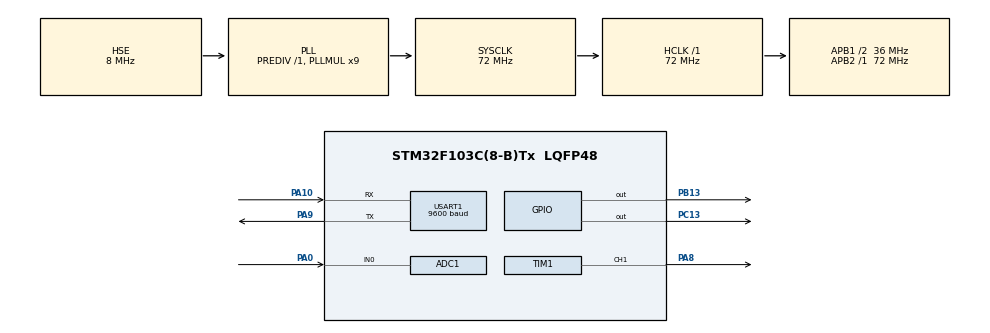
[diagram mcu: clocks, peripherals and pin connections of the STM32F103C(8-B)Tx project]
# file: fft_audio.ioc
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ADC1.Channel-5\#ChannelRegularConversion=ADC_CHANNEL_0
ADC1.EnableRegularConversion=ENABLE
ADC1.ExternalTrigConv=ADC_EXTERNALTRIGCONV_T3_TRGO
ADC1.NbrOfConversion=1
ADC1.NbrOfConversionFlag=1
ADC1.Rank-5\#ChannelRegularConversion=1
ADC1.SamplingTime-5\#ChannelRegularConversion=ADC_SAMPLETIME_41CYCLES_5
ADC1.master=1
Dma.ADC1.0.Direction=DMA_PERIPH_TO_MEMORY
Dma.ADC1.0.Instance=DMA1_Channel1
Dma.ADC1.0.MemDataAlignment=DMA_MDATAALIGN_HALFWORD
Dma.ADC1.0.MemInc=DMA_MINC_ENABLE
Dma.ADC1.0.Mode=DMA_NORMAL
Dma.ADC1.0.PeriphDataAlignment=DMA_PDATAALIGN_HALFWORD
Dma.ADC1.0.PeriphInc=DMA_PINC_DISABLE
Dma.ADC1.0.Priority=DMA_PRIORITY_LOW
Dma.Request0=ADC1
Dma.Request1=TIM1_CH1
Dma.Request2=USART1_RX
Dma.TIM1_CH1.1.Direction=DMA_MEMORY_TO_PERIPH
Dma.TIM1_CH1.1.Instance=DMA1_Channel2
Dma.TIM1_CH1.1.MemDataAlignment=DMA_MDATAALIGN_WORD
Dma.TIM1_CH1.1.MemInc=DMA_MINC_ENABLE
Dma.TIM1_CH1.1.Mode=DMA_CIRCULAR
Dma.TIM1_CH1.1.PeriphDataAlignment=DMA_PDATAALIGN_HALFWORD
Dma.TIM1_CH1.1.PeriphInc=DMA_PINC_DISABLE
Dma.TIM1_CH1.1.Priority=DMA_PRIORITY_LOW
Dma.USART1_RX.2.Direction=DMA_PERIPH_TO_MEMORY
Dma.USART1_RX.2.Instance=DMA1_Channel5
Dma.USART1_RX.2.MemDataAlignment=DMA_MDATAALIGN_BYTE
Dma.USART1_RX.2.MemInc=DMA_MINC_ENABLE
Dma.USART1_RX.2.Mode=DMA_CIRCULAR
Dma.USART1_RX.2.PeriphDataAlignment=DMA_PDATAALIGN_BYTE
Dma.USART1_RX.2.PeriphInc=DMA_PINC_DISABLE
Dma.USART1_RX.2.Priority=DMA_PRIORITY_LOW
Mcu.Family=STM32F1
Mcu.Name=STM32F103C(8-B)Tx
Mcu.Package=LQFP48
NVIC.DMA1_Channel1_IRQn=true\:0\:0\:false\:false\:true\:false\:true\:true
NVIC.DMA1_Channel2_IRQn=true\:0\:0\:false\:false\:true\:false\:true\:true
NVIC.DMA1_Channel5_IRQn=true\:0\:0\:false\:false\:true\:false\:true\:true
NVIC.PriorityGroup=NVIC_PRIORITYGROUP_4
NVIC.USART1_IRQn=true\:0\:0\:false\:false\:true\:true\:true\:true
PA0-WKUP.Signal=ADCx_IN0
PA10.Mode=Asynchronous
PA10.Signal=USART1_RX
PA13.Mode=Serial_Wire
PA13.Signal=SYS_JTMS-SWDIO
PA14.Mode=Serial_Wire
PA14.Signal=SYS_JTCK-SWCLK
PA8.Signal=S_TIM1_CH1
PA9.Mode=Asynchronous
PA9.Signal=USART1_TX
PB13.Signal=GPIO_Output
PC13-TAMPER-RTC.Signal=GPIO_Output
PD0-OSC_IN.Mode=HSE-External-Oscillator
PD0-OSC_IN.Signal=RCC_OSC_IN
PD1-OSC_OUT.Mode=HSE-External-Oscillator
PD1-OSC_OUT.Signal=RCC_OSC_OUT
ProjectManager.HeapSize=0x200
ProjectManager.StackSize=0x400
ProjectManager.TargetToolchain=STM32CubeIDE
RCC.ADCPresc=RCC_ADCPCLK2_DIV6
RCC.AHBFreq_Value=72000000
RCC.APB1CLKDivider=RCC_HCLK_DIV2
RCC.APB1Freq_Value=36000000
RCC.APB1TimFreq_Value=72000000
RCC.APB2Freq_Value=72000000
RCC.APB2TimFreq_Value=72000000
RCC.HCLKFreq_Value=72000000
RCC.PLLMUL=RCC_PLL_MUL9
RCC.PLLSourceVirtual=RCC_PLLSOURCE_HSE
RCC.SYSCLKFreq_VALUE=72000000
RCC.SYSCLKSource=RCC_SYSCLKSOURCE_PLLCLK
RCC.USBFreq_Value=48000000
RCC.USBPrescaler=RCC_USBCLKSOURCE_PLL_DIV1_5
SH.ADCx_IN0.0=ADC1_IN0,IN0
SH.S_TIM1_CH1.0=TIM1_CH1,PWM Generation1 CH1
TIM1.Channel-PWM\ Generation1\ CH1=TIM_CHANNEL_1
TIM1.OCIdleState_1=TIM_OCIDLESTATE_SET
TIM1.OCPolarity_1=TIM_OCPOLARITY_LOW
TIM1.Period=89
TIM3.AutoReloadPreload=TIM_AUTORELOAD_PRELOAD_ENABLE
TIM3.Period=24
TIM3.Prescaler=71
TIM3.TIM_MasterOutputTrigger=TIM_TRGO_UPDATE
TIM3.TIM_MasterSlaveMode=TIM_MASTERSLAVEMODE_ENABLE
USART1.BaudRate=9600
USART1.VirtualMode=VM_ASYNC
VP_TIM1_VS_ClockSourceINT.Mode=Internal
VP_TIM3_VS_ClockSourceINT.Mode=Internal
board=custom

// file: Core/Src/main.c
/* USER CODE BEGIN Header */
/**
  If you find that ADC no longer reads 256 samples, check and make sure DMA is init first
  and only then the ADC.
  Currently working on: Create first visualization routine.
  Possible solution: Map the octave output to the LED array. To be more specific,
  interpolate linearly depending on the distances of two bins.
  Magic code: 98 203 186
  */
/* USER CODE END Header */
#include "main.h"

/* USER CODE BEGIN Includes */
#include "arm_math.h"
#include "sampling.h"
#include "fftanalysis.h"
#include "ws2812.h"
#include "vis.h"
#include "bt.h"
/* USER CODE END Includes */

 ADC_HandleTypeDef hadc1;
DMA_HandleTypeDef hdma_adc1;

TIM_HandleTypeDef htim1;
TIM_HandleTypeDef htim3;
DMA_HandleTypeDef hdma_tim1_ch1;

UART_HandleTypeDef huart1;
DMA_HandleTypeDef hdma_usart1_rx;

/* USER CODE BEGIN PV */
ledstruc leds[NUM_LEDS];
/* USER CODE END PV */

void SystemClock_Config(void);
static void MX_GPIO_Init(void);
static void MX_ADC1_Init(void);
static void MX_DMA_Init(void);
static void MX_TIM3_Init(void);
static void MX_USART1_UART_Init(void);
static void MX_TIM1_Init(void);

int main(void)
{
  /* USER CODE BEGIN 1 */
  uint16_t sflag = 0;
  uint16_t lflag = 0;
  uint16_t dflag = 0;
  uint16_t mcnt = 0;

  // Samples and so called octs are stored here
  uint16_t samples[FFT_SIZE];
  uint16_t oct_out[OCT_N];
  /* USER CODE END 1 */

  /* MCU Configuration--------------------------------------------------------*/

  /* Reset of all peripherals, Initializes the Flash interface and the Systick. */
  HAL_Init();

  /* Configure the system clock */
  SystemClock_Config();

  /* Initialize all configured peripherals */
  MX_GPIO_Init();
  MX_DMA_Init();
  MX_ADC1_Init();
  MX_TIM3_Init();
  MX_USART1_UART_Init();
  MX_TIM1_Init();
  /* USER CODE BEGIN 2 */
  q15_t outputfft[FFT_SIZE/2];
  initLED();
  /* USER CODE END 2 */

  /* Infinite loop */
  /* USER CODE BEGIN WHILE */
  while (1)
  {
	uint8_t bval, rval;
	if(!dflag) {
		rval = getBT(&bval);
		if(bval) {
			dflag = 1;
			if(bval == 'M') {
				mcnt++;
				if(mcnt > 2) mcnt = 0;
			}
		}
	}
	// Switch machine like code to run sampling, FFT and WS2812.
	switch(0 ^ sflag ^ (lflag<<1)) {
	case 0:
		// Neither sampling nor WS2812 are done
		if(adc_read(samples)) {
		  perform_fft(samples, outputfft);
		  conv_oct(outputfft, oct_out);
		  sflag = 1;
		}
		lflag = ws2812_show();
		break;
	case 1:
		// Sampling done
		lflag = ws2812_show();
		break;
	case 2:
		// WS2812 done
		if(adc_read(samples)) {
		  perform_fft(samples, outputfft);
		  conv_oct(outputfft, oct_out);
		  sflag = 1;
		}
		break;
	case 3:
		// Do processing here before starting next loop
		if(mcnt < 2)
			visRoutine1(oct_out, leds, bval, rval);
		else
			visRoutine2(oct_out, leds);
		sflag = 0;
		lflag = 0;
		dflag = 0;
		break;
	}
    /* USER CODE END WHILE */

  }
}

void SystemClock_Config(void)
{
  RCC_OscInitTypeDef RCC_OscInitStruct = {0};
  RCC_ClkInitTypeDef RCC_ClkInitStruct = {0};
  RCC_PeriphCLKInitTypeDef PeriphClkInit = {0};

  /** Initializes the RCC Oscillators according to the specified parameters
  * in the RCC_OscInitTypeDef structure.
  */
  RCC_OscInitStruct.OscillatorType = RCC_OSCILLATORTYPE_HSE;
  RCC_OscInitStruct.HSEState = RCC_HSE_ON;
  RCC_OscInitStruct.HSEPredivValue = RCC_HSE_PREDIV_DIV1;
  RCC_OscInitStruct.HSIState = RCC_HSI_ON;
  RCC_OscInitStruct.PLL.PLLState = RCC_PLL_ON;
  RCC_OscInitStruct.PLL.PLLSource = RCC_PLLSOURCE_HSE;
  RCC_OscInitStruct.PLL.PLLMUL = RCC_PLL_MUL9;
  if (HAL_RCC_OscConfig(&RCC_OscInitStruct) != HAL_OK)
  {
    Error_Handler();
  }

  /** Initializes the CPU, AHB and APB buses clocks
  */
  RCC_ClkInitStruct.ClockType = RCC_CLOCKTYPE_HCLK|RCC_CLOCKTYPE_SYSCLK
                              |RCC_CLOCKTYPE_PCLK1|RCC_CLOCKTYPE_PCLK2;
  RCC_ClkInitStruct.SYSCLKSource = RCC_SYSCLKSOURCE_PLLCLK;
  RCC_ClkInitStruct.AHBCLKDivider = RCC_SYSCLK_DIV1;
  RCC_ClkInitStruct.APB1CLKDivider = RCC_HCLK_DIV2;
  RCC_ClkInitStruct.APB2CLKDivider = RCC_HCLK_DIV1;

  if (HAL_RCC_ClockConfig(&RCC_ClkInitStruct, FLASH_LATENCY_2) != HAL_OK)
  {
    Error_Handler();
  }
  PeriphClkInit.PeriphClockSelection = RCC_PERIPHCLK_ADC;
  PeriphClkInit.AdcClockSelection = RCC_ADCPCLK2_DIV6;
  if (HAL_RCCEx_PeriphCLKConfig(&PeriphClkInit) != HAL_OK)
  {
    Error_Handler();
  }
}

static void MX_ADC1_Init(void)
{

  ADC_ChannelConfTypeDef sConfig = {0};

  /** Common config
  */
  hadc1.Instance = ADC1;
  hadc1.Init.ScanConvMode = ADC_SCAN_DISABLE;
  hadc1.Init.ContinuousConvMode = DISABLE;
  hadc1.Init.DiscontinuousConvMode = DISABLE;
  hadc1.Init.ExternalTrigConv = ADC_EXTERNALTRIGCONV_T3_TRGO;
  hadc1.Init.DataAlign = ADC_DATAALIGN_RIGHT;
  hadc1.Init.NbrOfConversion = 1;
  if (HAL_ADC_Init(&hadc1) != HAL_OK)
  {
    Error_Handler();
  }

  /** Configure Regular Channel
  */
  sConfig.Channel = ADC_CHANNEL_0;
  sConfig.Rank = ADC_REGULAR_RANK_1;
  sConfig.SamplingTime = ADC_SAMPLETIME_41CYCLES_5;
  if (HAL_ADC_ConfigChannel(&hadc1, &sConfig) != HAL_OK)
  {
    Error_Handler();
  }

}

static void MX_TIM1_Init(void)
{

  TIM_ClockConfigTypeDef sClockSourceConfig = {0};
  TIM_MasterConfigTypeDef sMasterConfig = {0};
  TIM_OC_InitTypeDef sConfigOC = {0};
  TIM_BreakDeadTimeConfigTypeDef sBreakDeadTimeConfig = {0};

  htim1.Instance = TIM1;
  htim1.Init.Prescaler = 0;
  htim1.Init.CounterMode = TIM_COUNTERMODE_UP;
  htim1.Init.Period = 89;
  htim1.Init.ClockDivision = TIM_CLOCKDIVISION_DIV1;
  htim1.Init.RepetitionCounter = 0;
  htim1.Init.AutoReloadPreload = TIM_AUTORELOAD_PRELOAD_DISABLE;
  if (HAL_TIM_Base_Init(&htim1) != HAL_OK)
  {
    Error_Handler();
  }
  sClockSourceConfig.ClockSource = TIM_CLOCKSOURCE_INTERNAL;
  if (HAL_TIM_ConfigClockSource(&htim1, &sClockSourceConfig) != HAL_OK)
  {
    Error_Handler();
  }
  if (HAL_TIM_PWM_Init(&htim1) != HAL_OK)
  {
    Error_Handler();
  }
  sMasterConfig.MasterOutputTrigger = TIM_TRGO_RESET;
  sMasterConfig.MasterSlaveMode = TIM_MASTERSLAVEMODE_DISABLE;
  if (HAL_TIMEx_MasterConfigSynchronization(&htim1, &sMasterConfig) != HAL_OK)
  {
    Error_Handler();
  }
  sConfigOC.OCMode = TIM_OCMODE_PWM1;
  sConfigOC.Pulse = 0;
  sConfigOC.OCPolarity = TIM_OCPOLARITY_LOW;
  sConfigOC.OCNPolarity = TIM_OCNPOLARITY_HIGH;
  sConfigOC.OCFastMode = TIM_OCFAST_DISABLE;
  sConfigOC.OCIdleState = TIM_OCIDLESTATE_SET;
  sConfigOC.OCNIdleState = TIM_OCNIDLESTATE_RESET;
  if (HAL_TIM_PWM_ConfigChannel(&htim1, &sConfigOC, TIM_CHANNEL_1) != HAL_OK)
  {
    Error_Handler();
  }
  sBreakDeadTimeConfig.OffStateRunMode = TIM_OSSR_DISABLE;
  sBreakDeadTimeConfig.OffStateIDLEMode = TIM_OSSI_DISABLE;
  sBreakDeadTimeConfig.LockLevel = TIM_LOCKLEVEL_OFF;
  sBreakDeadTimeConfig.DeadTime = 0;
  sBreakDeadTimeConfig.BreakState = TIM_BREAK_DISABLE;
  sBreakDeadTimeConfig.BreakPolarity = TIM_BREAKPOLARITY_HIGH;
  sBreakDeadTimeConfig.AutomaticOutput = TIM_AUTOMATICOUTPUT_DISABLE;
  if (HAL_TIMEx_ConfigBreakDeadTime(&htim1, &sBreakDeadTimeConfig) != HAL_OK)
  {
    Error_Handler();
  }
  HAL_TIM_MspPostInit(&htim1);

}

static void MX_TIM3_Init(void)
{

  TIM_ClockConfigTypeDef sClockSourceConfig = {0};
  TIM_MasterConfigTypeDef sMasterConfig = {0};

  htim3.Instance = TIM3;
  htim3.Init.Prescaler = 71;
  htim3.Init.CounterMode = TIM_COUNTERMODE_UP;
  htim3.Init.Period = 24;
  htim3.Init.ClockDivision = TIM_CLOCKDIVISION_DIV1;
  htim3.Init.AutoReloadPreload = TIM_AUTORELOAD_PRELOAD_ENABLE;
  if (HAL_TIM_Base_Init(&htim3) != HAL_OK)
  {
    Error_Handler();
  }
  sClockSourceConfig.ClockSource = TIM_CLOCKSOURCE_INTERNAL;
  if (HAL_TIM_ConfigClockSource(&htim3, &sClockSourceConfig) != HAL_OK)
  {
    Error_Handler();
  }
  sMasterConfig.MasterOutputTrigger = TIM_TRGO_UPDATE;
  sMasterConfig.MasterSlaveMode = TIM_MASTERSLAVEMODE_ENABLE;
  if (HAL_TIMEx_MasterConfigSynchronization(&htim3, &sMasterConfig) != HAL_OK)
  {
    Error_Handler();
  }

}

static void MX_USART1_UART_Init(void)
{

  huart1.Instance = USART1;
  huart1.Init.BaudRate = 9600;
  huart1.Init.WordLength = UART_WORDLENGTH_8B;
  huart1.Init.StopBits = UART_STOPBITS_1;
  huart1.Init.Parity = UART_PARITY_NONE;
  huart1.Init.Mode = UART_MODE_TX_RX;
  huart1.Init.HwFlowCtl = UART_HWCONTROL_NONE;
  huart1.Init.OverSampling = UART_OVERSAMPLING_16;
  if (HAL_UART_Init(&huart1) != HAL_OK)
  {
    Error_Handler();
  }

}

static void MX_DMA_Init(void)
{

  /* DMA controller clock enable */
  __HAL_RCC_DMA1_CLK_ENABLE();

  /* DMA interrupt init */
  /* DMA1_Channel1_IRQn interrupt configuration */
  HAL_NVIC_SetPriority(DMA1_Channel1_IRQn, 0, 0);
  HAL_NVIC_EnableIRQ(DMA1_Channel1_IRQn);
  /* DMA1_Channel2_IRQn interrupt configuration */
  HAL_NVIC_SetPriority(DMA1_Channel2_IRQn, 0, 0);
  HAL_NVIC_EnableIRQ(DMA1_Channel2_IRQn);
  /* DMA1_Channel5_IRQn interrupt configuration */
  HAL_NVIC_SetPriority(DMA1_Channel5_IRQn, 0, 0);
  HAL_NVIC_EnableIRQ(DMA1_Channel5_IRQn);

}

static void MX_GPIO_Init(void)
{
  GPIO_InitTypeDef GPIO_InitStruct = {0};

  /* GPIO Ports Clock Enable */
  __HAL_RCC_GPIOB_CLK_ENABLE();
  __HAL_RCC_GPIOD_CLK_ENABLE();
  __HAL_RCC_GPIOA_CLK_ENABLE();

  /*Configure GPIO pin Output Level */
  HAL_GPIO_WritePin(GPIOB, GPIO_PIN_13, GPIO_PIN_RESET);

  /*Configure GPIO pin : PC13 */
  GPIO_InitStruct.Pin = GPIO_PIN_13;
  GPIO_InitStruct.Mode = GPIO_MODE_OUTPUT_PP;
  GPIO_InitStruct.Pull = GPIO_NOPULL;
  GPIO_InitStruct.Speed = GPIO_SPEED_FREQ_LOW;
  HAL_GPIO_Init(GPIOB, &GPIO_InitStruct);

}

void Error_Handler(void)
{
  __disable_irq();
  while (1)
  {
  }
}
